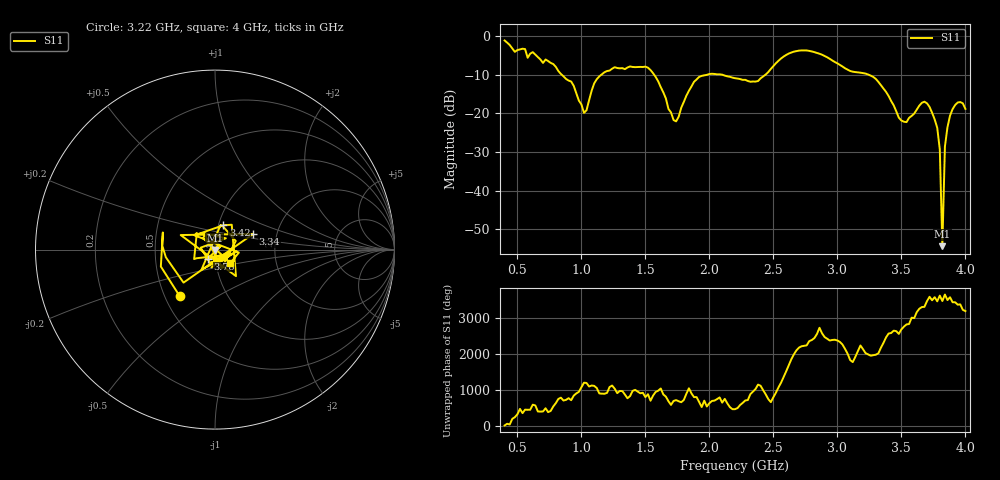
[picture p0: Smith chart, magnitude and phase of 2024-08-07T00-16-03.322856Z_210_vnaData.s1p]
!Created with skrf (http://scikit-rf.org).
# Hz S RI R 50.0
!freq ReS11 ImS11
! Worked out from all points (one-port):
!   181 points, 400 MHz to 4 GHz, reference 50 ohm
!   lowest |S11| = -54.4 dB at 3.82 GHz (marker M1), VSWR 1.00, Z = 49.9 - j0.164 ohm
!   |S11| at or under -10 dB: 1.567 GHz to 1.988 GHz (421.1 MHz wide, 23.7 % of centre); 2.09 GHz to 2.44 GHz (350.7 MHz wide, 15.5 % of centre); 3.24 GHz to end of sweep (the widest 3 of 4)
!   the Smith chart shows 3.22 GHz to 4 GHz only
!   S11 on the Smith chart (normalised r, x): 3.22 GHz: 0.60, -0.34; 3.34 GHz: 1.51, +0.28; 3.42 GHz: 1.06, +0.29; 3.78 GHz: 0.92, -0.09; 4 GHz: 1.17, -0.18
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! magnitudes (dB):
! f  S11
! 400 MHz  -1.2
! 860 MHz  -10.5
! 940 MHz  -12.9
! 1.02 GHz  -19.9
! 1.12 GHz  -11.2
! 1.3 GHz  -8.4
! 1.52 GHz  -8.2
! 1.6 GHz  -11.8
! 1.72 GHz  -21.8
! 1.76 GHz  -20.9
! 1.92 GHz  -10.6
! 2.2 GHz  -11.0
! 2.38 GHz  -11.7
! 2.66 GHz  -4.1
! 3.1 GHz  -9.1
! 3.22 GHz  -9.8
! 3.34 GHz  -12.8
! 3.42 GHz  -16.8
! 3.5 GHz  -21.9
! 3.56 GHz  -21.2
! 3.68 GHz  -17.0
! 3.78 GHz  -23.8
! 3.8 GHz  -29.3
! 3.82 GHz  -54.4
! 3.84 GHz  -28.6
! 3.86 GHz  -23.6
! 3.92 GHz  -17.9
! 4 GHz  -18.9
